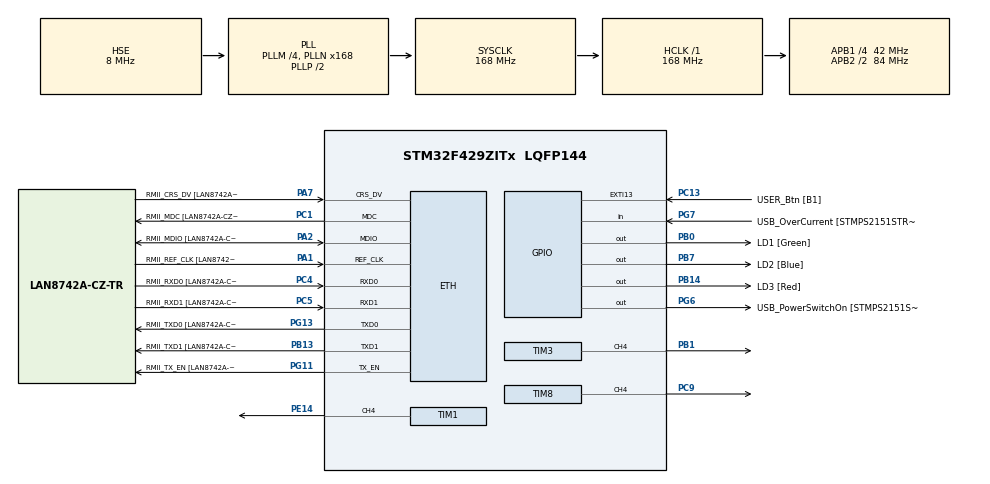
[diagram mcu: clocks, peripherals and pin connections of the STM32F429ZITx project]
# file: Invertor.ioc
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Dma.Request0=TIM1_CH4/TRIG/COM
Dma.Request1=TIM3_CH4/UP
Dma.Request2=TIM8_CH4/TRIG/COM
Dma.TIM1_CH4/TRIG/COM.0.Direction=DMA_MEMORY_TO_PERIPH
Dma.TIM1_CH4/TRIG/COM.0.FIFOMode=DMA_FIFOMODE_DISABLE
Dma.TIM1_CH4/TRIG/COM.0.Instance=DMA2_Stream4
Dma.TIM1_CH4/TRIG/COM.0.MemDataAlignment=DMA_MDATAALIGN_WORD
Dma.TIM1_CH4/TRIG/COM.0.MemInc=DMA_MINC_ENABLE
Dma.TIM1_CH4/TRIG/COM.0.Mode=DMA_CIRCULAR
Dma.TIM1_CH4/TRIG/COM.0.PeriphDataAlignment=DMA_PDATAALIGN_WORD
Dma.TIM1_CH4/TRIG/COM.0.PeriphInc=DMA_PINC_DISABLE
Dma.TIM1_CH4/TRIG/COM.0.Priority=DMA_PRIORITY_LOW
Dma.TIM3_CH4/UP.1.Direction=DMA_MEMORY_TO_PERIPH
Dma.TIM3_CH4/UP.1.FIFOMode=DMA_FIFOMODE_DISABLE
Dma.TIM3_CH4/UP.1.Instance=DMA1_Stream2
Dma.TIM3_CH4/UP.1.MemDataAlignment=DMA_MDATAALIGN_WORD
Dma.TIM3_CH4/UP.1.MemInc=DMA_MINC_ENABLE
Dma.TIM3_CH4/UP.1.Mode=DMA_CIRCULAR
Dma.TIM3_CH4/UP.1.PeriphDataAlignment=DMA_PDATAALIGN_WORD
Dma.TIM3_CH4/UP.1.PeriphInc=DMA_PINC_DISABLE
Dma.TIM3_CH4/UP.1.Priority=DMA_PRIORITY_LOW
Dma.TIM8_CH4/TRIG/COM.2.Direction=DMA_MEMORY_TO_PERIPH
Dma.TIM8_CH4/TRIG/COM.2.FIFOMode=DMA_FIFOMODE_DISABLE
Dma.TIM8_CH4/TRIG/COM.2.Instance=DMA2_Stream7
Dma.TIM8_CH4/TRIG/COM.2.MemDataAlignment=DMA_MDATAALIGN_WORD
Dma.TIM8_CH4/TRIG/COM.2.MemInc=DMA_MINC_ENABLE
Dma.TIM8_CH4/TRIG/COM.2.Mode=DMA_CIRCULAR
Dma.TIM8_CH4/TRIG/COM.2.PeriphDataAlignment=DMA_PDATAALIGN_WORD
Dma.TIM8_CH4/TRIG/COM.2.PeriphInc=DMA_PINC_DISABLE
Dma.TIM8_CH4/TRIG/COM.2.Priority=DMA_PRIORITY_LOW
ETH.MediaInterface=ETH_MEDIA_INTERFACE_RMII
ETH.PHY_Name=LAN8742A_PHY_ADDRESS
ETH.PHY_Value=0
ETH.PhyAddress=0
LWIP.GATEWAY_ADDRESS=192.168.000.001
LWIP.IP_ADDRESS=192.168.000.193
LWIP.LWIP_DHCP=0
LWIP.MEM_SIZE=10*1024
LWIP.NETMASK_ADDRESS=255.255.255.000
LWIP.Version=v2.1.2_Cube
Mcu.Family=STM32F4
Mcu.Name=STM32F429ZITx
Mcu.Package=LQFP144
NVIC.DMA1_Stream2_IRQn=true\:0\:0\:false\:false\:true\:false\:true
NVIC.DMA2_Stream4_IRQn=true\:0\:0\:false\:false\:true\:false\:true
NVIC.DMA2_Stream7_IRQn=true\:0\:0\:false\:false\:true\:false\:true
NVIC.ETH_IRQn=true\:0\:0\:false\:false\:true\:true\:true
NVIC.PriorityGroup=NVIC_PRIORITYGROUP_4
NVIC.TIM4_IRQn=true\:0\:0\:false\:false\:true\:true\:true
PA1.GPIO_Label=RMII_REF_CLK [LAN8742A-CZ-TR_REFCLK0]
PA1.Mode=RMII
PA1.Signal=ETH_REF_CLK
PA10.GPIO_Label=USB_ID
PA10.Signal=USB_OTG_FS_ID
PA11.GPIO_Label=USB_DM
PA11.Signal=USB_OTG_FS_DM
PA12.GPIO_Label=USB_DP
PA12.Signal=USB_OTG_FS_DP
PA13.GPIO_Label=TMS
PA13.Mode=Serial_Wire
PA13.Signal=SYS_JTMS-SWDIO
PA14.GPIO_Label=TCK
PA14.Mode=Serial_Wire
PA14.Signal=SYS_JTCK-SWCLK
PA2.GPIO_Label=RMII_MDIO [LAN8742A-CZ-TR_MDIO]
PA2.Mode=RMII
PA2.Signal=ETH_MDIO
PA7.GPIO_Label=RMII_CRS_DV [LAN8742A-CZ-TR_CRS_DV]
PA7.Mode=RMII
PA7.Signal=ETH_CRS_DV
PA8.GPIO_Label=USB_SOF [TP1]
PA8.Signal=USB_OTG_FS_SOF
PA9.GPIO_Label=USB_VBUS
PA9.Signal=USB_OTG_FS_VBUS
PB0.GPIO_Label=LD1 [Green]
PB0.Signal=GPIO_Output
PB1.Signal=S_TIM3_CH4
PB13.GPIO_Label=RMII_TXD1 [LAN8742A-CZ-TR_TXD1]
PB13.Mode=RMII
PB13.Signal=ETH_TXD1
PB14.GPIO_Label=LD3 [Red]
PB14.Signal=GPIO_Output
PB7.GPIO_Label=LD2 [Blue]
PB7.Signal=GPIO_Output
PC1.GPIO_Label=RMII_MDC [LAN8742A-CZ-TR_MDC]
PC1.Mode=RMII
PC1.Signal=ETH_MDC
PC13.GPIO_Label=USER_Btn [B1]
PC13.Signal=GPXTI13
PC14/OSC32_IN.Mode=LSE-External-Oscillator
PC14/OSC32_IN.Signal=RCC_OSC32_IN
PC15/OSC32_OUT.Mode=LSE-External-Oscillator
PC15/OSC32_OUT.Signal=RCC_OSC32_OUT
PC4.GPIO_Label=RMII_RXD0 [LAN8742A-CZ-TR_RXD0]
PC4.Mode=RMII
PC4.Signal=ETH_RXD0
PC5.GPIO_Label=RMII_RXD1 [LAN8742A-CZ-TR_RXD1]
PC5.Mode=RMII
PC5.Signal=ETH_RXD1
PC9.Signal=S_TIM8_CH4
PD8.GPIO_Label=STLK_RX [STM32F103CBT6_PA3]
PD8.Signal=USART3_TX
PD9.GPIO_Label=STLK_TX [STM32F103CBT6_PA2]
PD9.Signal=USART3_RX
PE14.Signal=S_TIM1_CH4
PG11.GPIO_Label=RMII_TX_EN [LAN8742A-CZ-TR_TXEN]
PG11.Mode=RMII
PG11.Signal=ETH_TX_EN
PG13.GPIO_Label=RMII_TXD0 [LAN8742A-CZ-TR_TXD0]
PG13.Mode=RMII
PG13.Signal=ETH_TXD0
PG6.GPIO_Label=USB_PowerSwitchOn [STMPS2151STR_EN]
PG6.Signal=GPIO_Output
PG7.GPIO_Label=USB_OverCurrent [STMPS2151STR_FAULT]
PG7.Signal=GPIO_Input
PH0/OSC_IN.GPIO_Label=MCO [STM32F103CBT6_PA8]
PH0/OSC_IN.Mode=HSE-External-Oscillator
PH0/OSC_IN.Signal=RCC_OSC_IN
PH1/OSC_OUT.Mode=HSE-External-Oscillator
PH1/OSC_OUT.Signal=RCC_OSC_OUT
ProjectManager.HeapSize=0x200
ProjectManager.StackSize=0x400
ProjectManager.TargetToolchain=EWARM V8.32
RCC.48MHZClocksFreq_Value=48000000
RCC.AHBFreq_Value=168000000
RCC.APB1CLKDivider=RCC_HCLK_DIV4
RCC.APB1Freq_Value=42000000
RCC.APB1TimFreq_Value=84000000
RCC.APB2CLKDivider=RCC_HCLK_DIV2
RCC.APB2Freq_Value=84000000
RCC.APB2TimCLKDivider=2
RCC.APB2TimFreq_Value=168000000
RCC.CortexFreq_Value=168000000
RCC.HCLKFreq_Value=168000000
RCC.HSE_VALUE=8000000
RCC.HSI_VALUE=16000000
RCC.PLLM=4
RCC.PLLMUL=RCC_PLL_MUL9
RCC.PLLN=168
RCC.PLLQ=7
RCC.PLLSourceVirtual=RCC_PLLSOURCE_HSE
RCC.PRESCALERUSB=RCC_USBCLKSOURCE_PLL_DIV1_5
RCC.SYSCLKFreq_VALUE=168000000
RCC.SYSCLKSource=RCC_SYSCLKSOURCE_PLLCLK
RCC.SYSCLKSourceVirtual=RCC_SYSCLKSOURCE_PLLCLK
RCC.USBFreq_Value=48000000
RCC.VCOOutputFreq_Value=336000000
SH.S_TIM1_CH4.0=TIM1_CH4,PWM Generation4 CH4
SH.S_TIM3_CH4.0=TIM3_CH4,PWM Generation4 CH4
SH.S_TIM8_CH4.0=TIM8_CH4,PWM Generation4 CH4
TIM1.Channel-PWM\ Generation4\ CH4=TIM_CHANNEL_4
TIM1.Period=1050
TIM1.Prescaler=7
TIM3.Channel-PWM\ Generation4\ CH4=TIM_CHANNEL_4
TIM3.Period=1050
TIM3.Prescaler=3
TIM4.Period=10000
TIM4.Prescaler=83
TIM8.Channel-PWM\ Generation4\ CH4=TIM_CHANNEL_4
TIM8.Period=1050
TIM8.Prescaler=7
VP_LWIP_VS_Enabled.Mode=Enabled
VP_TIM4_VS_ClockSourceINT.Mode=Internal
board=NUCLEO-F429ZI

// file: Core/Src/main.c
/* USER CODE BEGIN Header */
/**
  ******************************************************************************
  * @file           : main.c
  * @brief          : Main program body
  ******************************************************************************
  * @attention
  *
  * Copyright (c) 2022 STMicroelectronics.
  * All rights reserved.
  *
  * This software is licensed under terms that can be found in the LICENSE file
  * in the root directory of this software component.
  * If no LICENSE file comes with this software, it is provided AS-IS.
  *
  ******************************************************************************
  */
/* USER CODE END Header */
#include "main.h"
#include "lwip.h"

/* USER CODE BEGIN Includes */
#include "sinus.h"
#include "tcp_echoserver.h"
#include "modbusRegister.h"
/* USER CODE END Includes */

TIM_HandleTypeDef htim1;
TIM_HandleTypeDef htim3;
TIM_HandleTypeDef htim4;
TIM_HandleTypeDef htim8;
DMA_HandleTypeDef hdma_tim1_ch4_trig_com;
DMA_HandleTypeDef hdma_tim3_ch4_up;
DMA_HandleTypeDef hdma_tim8_ch4_trig_com;

void SystemClock_Config(void);
static void MX_GPIO_Init(void);
static void MX_DMA_Init(void);
static void MX_TIM1_Init(void);
static void MX_TIM3_Init(void);
static void MX_TIM4_Init(void);
static void MX_TIM8_Init(void);

/* USER CODE BEGIN 0 */
extern unsigned int sin_ar[STEP];
extern unsigned int sin_ar_120[STEP];
extern unsigned int sin_ar_240[STEP];
extern unsigned int steps;
extern struct netif gnetif;
extern unsigned char flag_freq;
/* USER CODE END 0 */

int main(void)
{

  /* MCU Configuration--------------------------------------------------------*/

  /* Reset of all peripherals, Initializes the Flash interface and the Systick. */
  HAL_Init();

  /* Configure the system clock */
  SystemClock_Config();

  /* Initialize all configured peripherals */
  MX_GPIO_Init();
  MX_DMA_Init();
  MX_TIM1_Init();
  MX_TIM3_Init();
  MX_TIM4_Init();
  MX_TIM8_Init();
  MX_LWIP_Init();
  /* USER CODE BEGIN 2 */
  modbus_register_create();
  tcp_server_init();
  sinus_init();
  HAL_TIM_PWM_Start_DMA(&htim1, TIM_CHANNEL_4, (uint32_t *)sin_ar, steps);
  HAL_TIM_PWM_Start_DMA(&htim8, TIM_CHANNEL_4, (uint32_t *)sin_ar_120, steps);
  HAL_TIM_PWM_Start_DMA(&htim3, TIM_CHANNEL_4, (uint32_t *)sin_ar_240, steps);
  HAL_TIM_Base_Start_IT(&htim4);
  /* USER CODE END 2 */

  /* Infinite loop */
  while (1)
  {

    /* USER CODE BEGIN 3 */
    ethernetif_input(&gnetif);
    sys_check_timeouts();
    if(flag_freq)
    {
      HAL_TIM_PWM_Stop_DMA(&htim1, TIM_CHANNEL_4);
      HAL_TIM_PWM_Stop_DMA(&htim8, TIM_CHANNEL_4);
      HAL_TIM_PWM_Stop_DMA(&htim3, TIM_CHANNEL_4);
      sinus_init();
      HAL_TIM_PWM_Start_DMA(&htim1, TIM_CHANNEL_4, (uint32_t *)sin_ar, steps);
      HAL_TIM_PWM_Start_DMA(&htim8, TIM_CHANNEL_4, (uint32_t *)sin_ar_120, steps);
      HAL_TIM_PWM_Start_DMA(&htim3, TIM_CHANNEL_4, (uint32_t *)sin_ar_240, steps);
      flag_freq=0;
    }
  }
  /* USER CODE END 3 */
}

void SystemClock_Config(void)
{
  RCC_OscInitTypeDef RCC_OscInitStruct = {0};
  RCC_ClkInitTypeDef RCC_ClkInitStruct = {0};

  /** Configure the main internal regulator output voltage
  */
  __HAL_RCC_PWR_CLK_ENABLE();
  __HAL_PWR_VOLTAGESCALING_CONFIG(PWR_REGULATOR_VOLTAGE_SCALE1);
  /** Initializes the RCC Oscillators according to the specified parameters
  * in the RCC_OscInitTypeDef structure.
  */
  RCC_OscInitStruct.OscillatorType = RCC_OSCILLATORTYPE_HSE;
  RCC_OscInitStruct.HSEState = RCC_HSE_ON;
  RCC_OscInitStruct.PLL.PLLState = RCC_PLL_ON;
  RCC_OscInitStruct.PLL.PLLSource = RCC_PLLSOURCE_HSE;
  RCC_OscInitStruct.PLL.PLLM = 4;
  RCC_OscInitStruct.PLL.PLLN = 168;
  RCC_OscInitStruct.PLL.PLLP = RCC_PLLP_DIV2;
  RCC_OscInitStruct.PLL.PLLQ = 7;
  if (HAL_RCC_OscConfig(&RCC_OscInitStruct) != HAL_OK)
  {
    Error_Handler();
  }
  /** Initializes the CPU, AHB and APB buses clocks
  */
  RCC_ClkInitStruct.ClockType = RCC_CLOCKTYPE_HCLK|RCC_CLOCKTYPE_SYSCLK
                              |RCC_CLOCKTYPE_PCLK1|RCC_CLOCKTYPE_PCLK2;
  RCC_ClkInitStruct.SYSCLKSource = RCC_SYSCLKSOURCE_PLLCLK;
  RCC_ClkInitStruct.AHBCLKDivider = RCC_SYSCLK_DIV1;
  RCC_ClkInitStruct.APB1CLKDivider = RCC_HCLK_DIV4;
  RCC_ClkInitStruct.APB2CLKDivider = RCC_HCLK_DIV2;

  if (HAL_RCC_ClockConfig(&RCC_ClkInitStruct, FLASH_LATENCY_5) != HAL_OK)
  {
    Error_Handler();
  }
}

static void MX_TIM1_Init(void)
{

  TIM_MasterConfigTypeDef sMasterConfig = {0};
  TIM_OC_InitTypeDef sConfigOC = {0};
  TIM_BreakDeadTimeConfigTypeDef sBreakDeadTimeConfig = {0};

  htim1.Instance = TIM1;
  htim1.Init.Prescaler = 7;
  htim1.Init.CounterMode = TIM_COUNTERMODE_UP;
  htim1.Init.Period = 1050;
  htim1.Init.ClockDivision = TIM_CLOCKDIVISION_DIV1;
  htim1.Init.RepetitionCounter = 0;
  htim1.Init.AutoReloadPreload = TIM_AUTORELOAD_PRELOAD_DISABLE;
  if (HAL_TIM_PWM_Init(&htim1) != HAL_OK)
  {
    Error_Handler();
  }
  sMasterConfig.MasterOutputTrigger = TIM_TRGO_RESET;
  sMasterConfig.MasterSlaveMode = TIM_MASTERSLAVEMODE_DISABLE;
  if (HAL_TIMEx_MasterConfigSynchronization(&htim1, &sMasterConfig) != HAL_OK)
  {
    Error_Handler();
  }
  sConfigOC.OCMode = TIM_OCMODE_PWM1;
  sConfigOC.Pulse = 0;
  sConfigOC.OCPolarity = TIM_OCPOLARITY_HIGH;
  sConfigOC.OCFastMode = TIM_OCFAST_DISABLE;
  sConfigOC.OCIdleState = TIM_OCIDLESTATE_RESET;
  sConfigOC.OCNIdleState = TIM_OCNIDLESTATE_RESET;
  if (HAL_TIM_PWM_ConfigChannel(&htim1, &sConfigOC, TIM_CHANNEL_4) != HAL_OK)
  {
    Error_Handler();
  }
  sBreakDeadTimeConfig.OffStateRunMode = TIM_OSSR_DISABLE;
  sBreakDeadTimeConfig.OffStateIDLEMode = TIM_OSSI_DISABLE;
  sBreakDeadTimeConfig.LockLevel = TIM_LOCKLEVEL_OFF;
  sBreakDeadTimeConfig.DeadTime = 0;
  sBreakDeadTimeConfig.BreakState = TIM_BREAK_DISABLE;
  sBreakDeadTimeConfig.BreakPolarity = TIM_BREAKPOLARITY_HIGH;
  sBreakDeadTimeConfig.AutomaticOutput = TIM_AUTOMATICOUTPUT_DISABLE;
  if (HAL_TIMEx_ConfigBreakDeadTime(&htim1, &sBreakDeadTimeConfig) != HAL_OK)
  {
    Error_Handler();
  }
  HAL_TIM_MspPostInit(&htim1);

}

static void MX_TIM3_Init(void)
{

  TIM_MasterConfigTypeDef sMasterConfig = {0};
  TIM_OC_InitTypeDef sConfigOC = {0};

  htim3.Instance = TIM3;
  htim3.Init.Prescaler = 3;
  htim3.Init.CounterMode = TIM_COUNTERMODE_UP;
  htim3.Init.Period = 1050;
  htim3.Init.ClockDivision = TIM_CLOCKDIVISION_DIV1;
  htim3.Init.AutoReloadPreload = TIM_AUTORELOAD_PRELOAD_DISABLE;
  if (HAL_TIM_PWM_Init(&htim3) != HAL_OK)
  {
    Error_Handler();
  }
  sMasterConfig.MasterOutputTrigger = TIM_TRGO_RESET;
  sMasterConfig.MasterSlaveMode = TIM_MASTERSLAVEMODE_DISABLE;
  if (HAL_TIMEx_MasterConfigSynchronization(&htim3, &sMasterConfig) != HAL_OK)
  {
    Error_Handler();
  }
  sConfigOC.OCMode = TIM_OCMODE_PWM1;
  sConfigOC.Pulse = 0;
  sConfigOC.OCPolarity = TIM_OCPOLARITY_HIGH;
  sConfigOC.OCFastMode = TIM_OCFAST_DISABLE;
  if (HAL_TIM_PWM_ConfigChannel(&htim3, &sConfigOC, TIM_CHANNEL_4) != HAL_OK)
  {
    Error_Handler();
  }
  HAL_TIM_MspPostInit(&htim3);

}

static void MX_TIM4_Init(void)
{

  TIM_ClockConfigTypeDef sClockSourceConfig = {0};
  TIM_MasterConfigTypeDef sMasterConfig = {0};

  htim4.Instance = TIM4;
  htim4.Init.Prescaler = 83;
  htim4.Init.CounterMode = TIM_COUNTERMODE_UP;
  htim4.Init.Period = 10000;
  htim4.Init.ClockDivision = TIM_CLOCKDIVISION_DIV1;
  htim4.Init.AutoReloadPreload = TIM_AUTORELOAD_PRELOAD_DISABLE;
  if (HAL_TIM_Base_Init(&htim4) != HAL_OK)
  {
    Error_Handler();
  }
  sClockSourceConfig.ClockSource = TIM_CLOCKSOURCE_INTERNAL;
  if (HAL_TIM_ConfigClockSource(&htim4, &sClockSourceConfig) != HAL_OK)
  {
    Error_Handler();
  }
  sMasterConfig.MasterOutputTrigger = TIM_TRGO_RESET;
  sMasterConfig.MasterSlaveMode = TIM_MASTERSLAVEMODE_DISABLE;
  if (HAL_TIMEx_MasterConfigSynchronization(&htim4, &sMasterConfig) != HAL_OK)
  {
    Error_Handler();
  }

}

static void MX_TIM8_Init(void)
{

  TIM_MasterConfigTypeDef sMasterConfig = {0};
  TIM_OC_InitTypeDef sConfigOC = {0};
  TIM_BreakDeadTimeConfigTypeDef sBreakDeadTimeConfig = {0};

  htim8.Instance = TIM8;
  htim8.Init.Prescaler = 7;
  htim8.Init.CounterMode = TIM_COUNTERMODE_UP;
  htim8.Init.Period = 1050;
  htim8.Init.ClockDivision = TIM_CLOCKDIVISION_DIV1;
  htim8.Init.RepetitionCounter = 0;
  htim8.Init.AutoReloadPreload = TIM_AUTORELOAD_PRELOAD_DISABLE;
  if (HAL_TIM_PWM_Init(&htim8) != HAL_OK)
  {
    Error_Handler();
  }
  sMasterConfig.MasterOutputTrigger = TIM_TRGO_RESET;
  sMasterConfig.MasterSlaveMode = TIM_MASTERSLAVEMODE_DISABLE;
  if (HAL_TIMEx_MasterConfigSynchronization(&htim8, &sMasterConfig) != HAL_OK)
  {
    Error_Handler();
  }
  sConfigOC.OCMode = TIM_OCMODE_PWM1;
  sConfigOC.Pulse = 0;
  sConfigOC.OCPolarity = TIM_OCPOLARITY_HIGH;
  sConfigOC.OCFastMode = TIM_OCFAST_DISABLE;
  sConfigOC.OCIdleState = TIM_OCIDLESTATE_RESET;
  sConfigOC.OCNIdleState = TIM_OCNIDLESTATE_RESET;
  if (HAL_TIM_PWM_ConfigChannel(&htim8, &sConfigOC, TIM_CHANNEL_4) != HAL_OK)
  {
    Error_Handler();
  }
  sBreakDeadTimeConfig.OffStateRunMode = TIM_OSSR_DISABLE;
  sBreakDeadTimeConfig.OffStateIDLEMode = TIM_OSSI_DISABLE;
  sBreakDeadTimeConfig.LockLevel = TIM_LOCKLEVEL_OFF;
  sBreakDeadTimeConfig.DeadTime = 0;
  sBreakDeadTimeConfig.BreakState = TIM_BREAK_DISABLE;
  sBreakDeadTimeConfig.BreakPolarity = TIM_BREAKPOLARITY_HIGH;
  sBreakDeadTimeConfig.AutomaticOutput = TIM_AUTOMATICOUTPUT_DISABLE;
  if (HAL_TIMEx_ConfigBreakDeadTime(&htim8, &sBreakDeadTimeConfig) != HAL_OK)
  {
    Error_Handler();
  }
  HAL_TIM_MspPostInit(&htim8);

}

static void MX_DMA_Init(void)
{

  /* DMA controller clock enable */
  __HAL_RCC_DMA2_CLK_ENABLE();
  __HAL_RCC_DMA1_CLK_ENABLE();

  /* DMA interrupt init */
  /* DMA1_Stream2_IRQn interrupt configuration */
  HAL_NVIC_SetPriority(DMA1_Stream2_IRQn, 0, 0);
  HAL_NVIC_EnableIRQ(DMA1_Stream2_IRQn);
  /* DMA2_Stream4_IRQn interrupt configuration */
  HAL_NVIC_SetPriority(DMA2_Stream4_IRQn, 0, 0);
  HAL_NVIC_EnableIRQ(DMA2_Stream4_IRQn);
  /* DMA2_Stream7_IRQn interrupt configuration */
  HAL_NVIC_SetPriority(DMA2_Stream7_IRQn, 0, 0);
  HAL_NVIC_EnableIRQ(DMA2_Stream7_IRQn);

}

static void MX_GPIO_Init(void)
{
  GPIO_InitTypeDef GPIO_InitStruct = {0};

  /* GPIO Ports Clock Enable */
  __HAL_RCC_GPIOC_CLK_ENABLE();
  __HAL_RCC_GPIOH_CLK_ENABLE();
  __HAL_RCC_GPIOA_CLK_ENABLE();
  __HAL_RCC_GPIOB_CLK_ENABLE();
  __HAL_RCC_GPIOE_CLK_ENABLE();
  __HAL_RCC_GPIOD_CLK_ENABLE();
  __HAL_RCC_GPIOG_CLK_ENABLE();

  /*Configure GPIO pin Output Level */
  HAL_GPIO_WritePin(GPIOB, LD1_Pin|LD3_Pin|LD2_Pin, GPIO_PIN_RESET);

  /*Configure GPIO pin Output Level */
  HAL_GPIO_WritePin(USB_PowerSwitchOn_GPIO_Port, USB_PowerSwitchOn_Pin, GPIO_PIN_RESET);

  /*Configure GPIO pin : USER_Btn_Pin */
  GPIO_InitStruct.Pin = USER_Btn_Pin;
  GPIO_InitStruct.Mode = GPIO_MODE_IT_RISING;
  GPIO_InitStruct.Pull = GPIO_NOPULL;
  HAL_GPIO_Init(USER_Btn_GPIO_Port, &GPIO_InitStruct);

  /*Configure GPIO pins : LD1_Pin LD3_Pin LD2_Pin */
  GPIO_InitStruct.Pin = LD1_Pin|LD3_Pin|LD2_Pin;
  GPIO_InitStruct.Mode = GPIO_MODE_OUTPUT_PP;
  GPIO_InitStruct.Pull = GPIO_NOPULL;
  GPIO_InitStruct.Speed = GPIO_SPEED_FREQ_LOW;
  HAL_GPIO_Init(GPIOB, &GPIO_InitStruct);

  /*Configure GPIO pins : STLK_RX_Pin STLK_TX_Pin */
  GPIO_InitStruct.Pin = STLK_RX_Pin|STLK_TX_Pin;
  GPIO_InitStruct.Mode = GPIO_MODE_AF_PP;
  GPIO_InitStruct.Pull = GPIO_NOPULL;
  GPIO_InitStruct.Speed = GPIO_SPEED_FREQ_VERY_HIGH;
  GPIO_InitStruct.Alternate = GPIO_AF7_USART3;
  HAL_GPIO_Init(GPIOD, &GPIO_InitStruct);

  /*Configure GPIO pin : USB_PowerSwitchOn_Pin */
  GPIO_InitStruct.Pin = USB_PowerSwitchOn_Pin;
  GPIO_InitStruct.Mode = GPIO_MODE_OUTPUT_PP;
  GPIO_InitStruct.Pull = GPIO_NOPULL;
  GPIO_InitStruct.Speed = GPIO_SPEED_FREQ_LOW;
  HAL_GPIO_Init(USB_PowerSwitchOn_GPIO_Port, &GPIO_InitStruct);

  /*Configure GPIO pin : USB_OverCurrent_Pin */
  GPIO_InitStruct.Pin = USB_OverCurrent_Pin;
  GPIO_InitStruct.Mode = GPIO_MODE_INPUT;
  GPIO_InitStruct.Pull = GPIO_NOPULL;
  HAL_GPIO_Init(USB_OverCurrent_GPIO_Port, &GPIO_InitStruct);

  /*Configure GPIO pins : USB_SOF_Pin USB_ID_Pin USB_DM_Pin USB_DP_Pin */
  GPIO_InitStruct.Pin = USB_SOF_Pin|USB_ID_Pin|USB_DM_Pin|USB_DP_Pin;
  GPIO_InitStruct.Mode = GPIO_MODE_AF_PP;
  GPIO_InitStruct.Pull = GPIO_NOPULL;
  GPIO_InitStruct.Speed = GPIO_SPEED_FREQ_VERY_HIGH;
  GPIO_InitStruct.Alternate = GPIO_AF10_OTG_FS;
  HAL_GPIO_Init(GPIOA, &GPIO_InitStruct);

  /*Configure GPIO pin : USB_VBUS_Pin */
  GPIO_InitStruct.Pin = USB_VBUS_Pin;
  GPIO_InitStruct.Mode = GPIO_MODE_INPUT;
  GPIO_InitStruct.Pull = GPIO_NOPULL;
  HAL_GPIO_Init(USB_VBUS_GPIO_Port, &GPIO_InitStruct);

}

void Error_Handler(void)
{
  __disable_irq();
  while (1)
  {
  }
}
